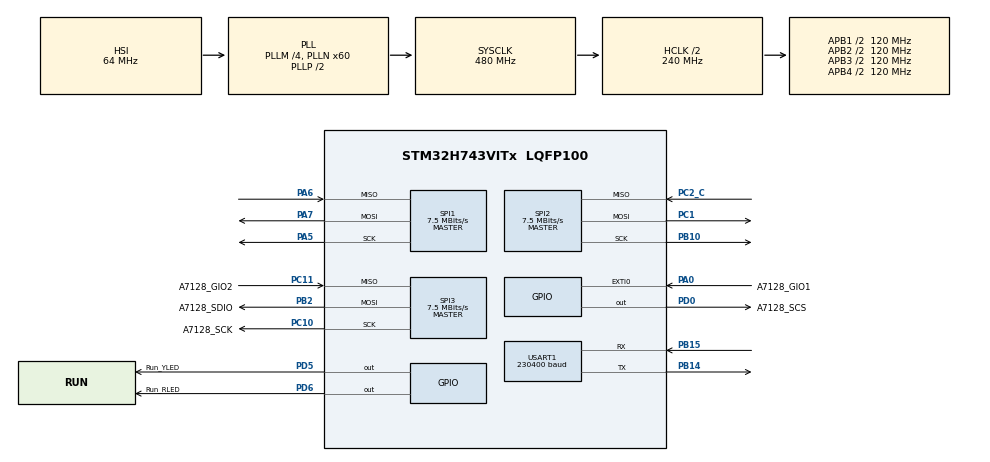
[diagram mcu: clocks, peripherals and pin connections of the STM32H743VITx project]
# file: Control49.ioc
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CORTEX_M7.CPU_DCache=Disabled
CORTEX_M7.CPU_ICache=Enabled
CORTEX_M7.MPU_Control=__NULL
Dma.MEMTOMEM.3.Direction=DMA_MEMORY_TO_MEMORY
Dma.MEMTOMEM.3.EventEnable=DISABLE
Dma.MEMTOMEM.3.FIFOMode=DMA_FIFOMODE_ENABLE
Dma.MEMTOMEM.3.FIFOThreshold=DMA_FIFO_THRESHOLD_FULL
Dma.MEMTOMEM.3.Instance=DMA2_Stream3
Dma.MEMTOMEM.3.MemBurst=DMA_MBURST_SINGLE
Dma.MEMTOMEM.3.MemDataAlignment=DMA_MDATAALIGN_BYTE
Dma.MEMTOMEM.3.MemInc=DMA_MINC_ENABLE
Dma.MEMTOMEM.3.Mode=DMA_NORMAL
Dma.MEMTOMEM.3.PeriphBurst=DMA_PBURST_SINGLE
Dma.MEMTOMEM.3.PeriphDataAlignment=DMA_PDATAALIGN_BYTE
Dma.MEMTOMEM.3.PeriphInc=DMA_PINC_ENABLE
Dma.MEMTOMEM.3.Polarity=HAL_DMAMUX_REQ_GEN_RISING
Dma.MEMTOMEM.3.Priority=DMA_PRIORITY_LOW
Dma.MEMTOMEM.3.RequestNumber=1
Dma.MEMTOMEM.3.SignalID=NONE
Dma.MEMTOMEM.3.SyncEnable=DISABLE
Dma.MEMTOMEM.3.SyncPolarity=HAL_DMAMUX_SYNC_NO_EVENT
Dma.MEMTOMEM.3.SyncRequestNumber=1
Dma.MEMTOMEM.3.SyncSignalID=NONE
Dma.MEMTOMEM.4.Direction=DMA_MEMORY_TO_MEMORY
Dma.MEMTOMEM.4.EventEnable=DISABLE
Dma.MEMTOMEM.4.FIFOMode=DMA_FIFOMODE_ENABLE
Dma.MEMTOMEM.4.FIFOThreshold=DMA_FIFO_THRESHOLD_FULL
Dma.MEMTOMEM.4.Instance=DMA1_Stream2
Dma.MEMTOMEM.4.MemBurst=DMA_MBURST_SINGLE
Dma.MEMTOMEM.4.MemDataAlignment=DMA_MDATAALIGN_WORD
Dma.MEMTOMEM.4.MemInc=DMA_MINC_ENABLE
Dma.MEMTOMEM.4.Mode=DMA_NORMAL
Dma.MEMTOMEM.4.PeriphBurst=DMA_PBURST_SINGLE
Dma.MEMTOMEM.4.PeriphDataAlignment=DMA_PDATAALIGN_WORD
Dma.MEMTOMEM.4.PeriphInc=DMA_PINC_DISABLE
Dma.MEMTOMEM.4.Polarity=HAL_DMAMUX_REQ_GEN_RISING
Dma.MEMTOMEM.4.Priority=DMA_PRIORITY_LOW
Dma.MEMTOMEM.4.RequestNumber=1
Dma.MEMTOMEM.4.SignalID=NONE
Dma.MEMTOMEM.4.SyncEnable=DISABLE
Dma.MEMTOMEM.4.SyncPolarity=HAL_DMAMUX_SYNC_NO_EVENT
Dma.MEMTOMEM.4.SyncRequestNumber=1
Dma.MEMTOMEM.4.SyncSignalID=NONE
Dma.Request0=SPI3_RX
Dma.Request1=USART1_TX
Dma.Request2=SPI3_TX
Dma.Request3=MEMTOMEM
Dma.Request4=MEMTOMEM
Dma.Request5=USART1_RX
Dma.SPI3_RX.0.Direction=DMA_PERIPH_TO_MEMORY
Dma.SPI3_RX.0.EventEnable=DISABLE
Dma.SPI3_RX.0.FIFOMode=DMA_FIFOMODE_DISABLE
Dma.SPI3_RX.0.Instance=DMA1_Stream0
Dma.SPI3_RX.0.MemDataAlignment=DMA_MDATAALIGN_BYTE
Dma.SPI3_RX.0.MemInc=DMA_MINC_ENABLE
Dma.SPI3_RX.0.Mode=DMA_NORMAL
Dma.SPI3_RX.0.PeriphDataAlignment=DMA_PDATAALIGN_BYTE
Dma.SPI3_RX.0.PeriphInc=DMA_PINC_DISABLE
Dma.SPI3_RX.0.Polarity=HAL_DMAMUX_REQ_GEN_RISING
Dma.SPI3_RX.0.Priority=DMA_PRIORITY_LOW
Dma.SPI3_RX.0.RequestNumber=1
Dma.SPI3_RX.0.SignalID=NONE
Dma.SPI3_RX.0.SyncEnable=DISABLE
Dma.SPI3_RX.0.SyncPolarity=HAL_DMAMUX_SYNC_NO_EVENT
Dma.SPI3_RX.0.SyncRequestNumber=1
Dma.SPI3_RX.0.SyncSignalID=NONE
Dma.SPI3_TX.2.Direction=DMA_MEMORY_TO_PERIPH
Dma.SPI3_TX.2.EventEnable=DISABLE
Dma.SPI3_TX.2.FIFOMode=DMA_FIFOMODE_DISABLE
Dma.SPI3_TX.2.Instance=DMA1_Stream1
Dma.SPI3_TX.2.MemDataAlignment=DMA_MDATAALIGN_BYTE
Dma.SPI3_TX.2.MemInc=DMA_MINC_ENABLE
Dma.SPI3_TX.2.Mode=DMA_NORMAL
Dma.SPI3_TX.2.PeriphDataAlignment=DMA_PDATAALIGN_BYTE
Dma.SPI3_TX.2.PeriphInc=DMA_PINC_DISABLE
Dma.SPI3_TX.2.Polarity=HAL_DMAMUX_REQ_GEN_RISING
Dma.SPI3_TX.2.Priority=DMA_PRIORITY_LOW
Dma.SPI3_TX.2.RequestNumber=1
Dma.SPI3_TX.2.SignalID=NONE
Dma.SPI3_TX.2.SyncEnable=DISABLE
Dma.SPI3_TX.2.SyncPolarity=HAL_DMAMUX_SYNC_NO_EVENT
Dma.SPI3_TX.2.SyncRequestNumber=1
Dma.SPI3_TX.2.SyncSignalID=NONE
Dma.USART1_RX.5.Direction=DMA_PERIPH_TO_MEMORY
Dma.USART1_RX.5.EventEnable=DISABLE
Dma.USART1_RX.5.FIFOMode=DMA_FIFOMODE_DISABLE
Dma.USART1_RX.5.Instance=DMA2_Stream1
Dma.USART1_RX.5.MemDataAlignment=DMA_MDATAALIGN_BYTE
Dma.USART1_RX.5.MemInc=DMA_MINC_ENABLE
Dma.USART1_RX.5.Mode=DMA_NORMAL
Dma.USART1_RX.5.PeriphDataAlignment=DMA_PDATAALIGN_BYTE
Dma.USART1_RX.5.PeriphInc=DMA_PINC_DISABLE
Dma.USART1_RX.5.Polarity=HAL_DMAMUX_REQ_GEN_RISING
Dma.USART1_RX.5.Priority=DMA_PRIORITY_LOW
Dma.USART1_RX.5.RequestNumber=1
Dma.USART1_RX.5.SignalID=NONE
Dma.USART1_RX.5.SyncEnable=DISABLE
Dma.USART1_RX.5.SyncPolarity=HAL_DMAMUX_SYNC_NO_EVENT
Dma.USART1_RX.5.SyncRequestNumber=1
Dma.USART1_RX.5.SyncSignalID=NONE
Dma.USART1_TX.1.Direction=DMA_MEMORY_TO_PERIPH
Dma.USART1_TX.1.EventEnable=DISABLE
Dma.USART1_TX.1.FIFOMode=DMA_FIFOMODE_DISABLE
Dma.USART1_TX.1.Instance=DMA2_Stream0
Dma.USART1_TX.1.MemDataAlignment=DMA_MDATAALIGN_BYTE
Dma.USART1_TX.1.MemInc=DMA_MINC_ENABLE
Dma.USART1_TX.1.Mode=DMA_NORMAL
Dma.USART1_TX.1.PeriphDataAlignment=DMA_PDATAALIGN_BYTE
Dma.USART1_TX.1.PeriphInc=DMA_PINC_DISABLE
Dma.USART1_TX.1.Polarity=HAL_DMAMUX_REQ_GEN_RISING
Dma.USART1_TX.1.Priority=DMA_PRIORITY_LOW
Dma.USART1_TX.1.RequestNumber=1
Dma.USART1_TX.1.SignalID=NONE
Dma.USART1_TX.1.SyncEnable=DISABLE
Dma.USART1_TX.1.SyncPolarity=HAL_DMAMUX_SYNC_NO_EVENT
Dma.USART1_TX.1.SyncRequestNumber=1
Dma.USART1_TX.1.SyncSignalID=NONE
Mcu.Family=STM32H7
Mcu.Name=STM32H743VITx
Mcu.Package=LQFP100
NVIC.DMA1_Stream0_IRQn=true\:0\:0\:false\:false\:true\:false\:true
NVIC.DMA1_Stream1_IRQn=true\:0\:0\:false\:false\:true\:false\:true
NVIC.DMA2_Stream0_IRQn=true\:2\:0\:true\:false\:true\:false\:true
NVIC.DMA2_Stream1_IRQn=true\:2\:0\:true\:false\:true\:false\:true
NVIC.DMA2_Stream3_IRQn=true\:0\:0\:false\:false\:true\:false\:true
NVIC.EXTI0_IRQn=true\:0\:0\:true\:false\:true\:true\:true
NVIC.PriorityGroup=NVIC_PRIORITYGROUP_2
NVIC.SPI3_IRQn=true\:0\:0\:false\:false\:true\:false\:true
NVIC.TIM8_TRG_COM_TIM14_IRQn=true\:0\:0\:true\:false\:true\:true\:true
NVIC.TIM8_UP_TIM13_IRQn=true\:0\:0\:false\:false\:true\:true\:true
NVIC.USART1_IRQn=true\:1\:0\:true\:false\:true\:true\:true
PA0.GPIO_Label=A7128_GIO1
PA0.GPIO_ModeDefaultEXTI=GPIO_MODE_IT_FALLING
PA0.GPIO_PuPd=GPIO_PULLUP
PA0.Signal=GPXTI0
PA5.Mode=Full_Duplex_Master
PA5.Signal=SPI1_SCK
PA6.Mode=Full_Duplex_Master
PA6.Signal=SPI1_MISO
PA7.Mode=Full_Duplex_Master
PA7.Signal=SPI1_MOSI
PB10.Mode=Full_Duplex_Master
PB10.Signal=SPI2_SCK
PB14.Mode=Asynchronous
PB14.Signal=USART1_TX
PB15.Mode=Asynchronous
PB15.Signal=USART1_RX
PB2.GPIO_Label=A7128_SDIO
PB2.GPIO_Speed=GPIO_SPEED_FREQ_VERY_HIGH
PB2.Mode=Full_Duplex_Master
PB2.Signal=SPI3_MOSI
PC1.Mode=Full_Duplex_Master
PC1.Signal=SPI2_MOSI
PC10.GPIO_Label=A7128_SCK
PC10.GPIO_Speed=GPIO_SPEED_FREQ_VERY_HIGH
PC10.Mode=Full_Duplex_Master
PC10.Signal=SPI3_SCK
PC11.GPIO_Label=A7128_GIO2
PC11.GPIO_Speed=GPIO_SPEED_FREQ_VERY_HIGH
PC11.Mode=Full_Duplex_Master
PC11.Signal=SPI3_MISO
PC2_C.Mode=Full_Duplex_Master
PC2_C.Signal=SPI2_MISO
PD0.GPIO_Label=A7128_SCS
PD0.GPIO_PuPd=GPIO_PULLUP
PD0.GPIO_Speed=GPIO_SPEED_FREQ_HIGH
PD0.PinState=GPIO_PIN_SET
PD0.Signal=GPIO_Output
PD5.GPIO_Label=Run_YLED
PD5.GPIO_PuPd=GPIO_PULLUP
PD5.PinState=GPIO_PIN_SET
PD5.Signal=GPIO_Output
PD6.GPIO_Label=Run_RLED
PD6.GPIO_PuPd=GPIO_PULLUP
PD6.PinState=GPIO_PIN_SET
PD6.Signal=GPIO_Output
PH0-OSC_IN\ (PH0).Mode=HSE-External-Oscillator
PH0-OSC_IN\ (PH0).Signal=RCC_OSC_IN
PH1-OSC_OUT\ (PH1).Mode=HSE-External-Oscillator
PH1-OSC_OUT\ (PH1).Signal=RCC_OSC_OUT
ProjectManager.HeapSize=0x200
ProjectManager.StackSize=0x400
ProjectManager.TargetToolchain=Other Toolchains (GPDSC)
RCC.ADCFreq_Value=129000000
RCC.APB1Freq_Value=120000000
RCC.APB2Freq_Value=120000000
RCC.APB3Freq_Value=120000000
RCC.APB4Freq_Value=120000000
RCC.CortexFreq_Value=480000000
RCC.D1PPRE=RCC_APB3_DIV2
RCC.D2PPRE1=RCC_APB1_DIV2
RCC.D2PPRE2=RCC_APB2_DIV2
RCC.D3PPRE=RCC_APB4_DIV2
RCC.DIVM1=4
RCC.DIVN1=60
RCC.FLatency=FLASH_LATENCY_4
RCC.HCLKFreq_Value=240000000
RCC.HPRE=RCC_HCLK_DIV2
RCC.PLL1_VCI_Range=RCC_PLL1VCIRANGE_3
RCC.PLLFRACN=0
RCC.PWR_Regulator_Voltage_Scale=PWR_REGULATOR_VOLTAGE_SCALE0
RCC.SYSCLKFreq_VALUE=480000000
RCC.SYSCLKSource=RCC_SYSCLKSOURCE_PLLCLK
RCC.USBFreq_Value=480000000
SPI1.BaudRatePrescaler=SPI_BAUDRATEPRESCALER_64
SPI1.CLKPhase=SPI_PHASE_1EDGE
SPI1.CLKPolarity=SPI_POLARITY_LOW
SPI1.CRCCalculation=SPI_CRCCALCULATION_DISABLE
SPI1.CalculateBaudRate=7.5 MBits/s
SPI1.DataSize=SPI_DATASIZE_8BIT
SPI1.Direction=SPI_DIRECTION_2LINES
SPI1.FifoThreshold=SPI_FIFO_THRESHOLD_01DATA
SPI1.FirstBit=SPI_FIRSTBIT_MSB
SPI1.IOSwap=SPI_IO_SWAP_DISABLE
SPI1.MasterInterDataIdleness=SPI_MASTER_INTERDATA_IDLENESS_00CYCLE
SPI1.MasterKeepIOState=SPI_MASTER_KEEP_IO_STATE_DISABLE
SPI1.MasterReceiverAutoSusp=SPI_MASTER_RX_AUTOSUSP_DISABLE
SPI1.MasterSSIdleness=SPI_MASTER_SS_IDLENESS_00CYCLE
SPI1.Mode=SPI_MODE_MASTER
SPI1.NSS=SPI_NSS_SOFT
SPI1.NSSPMode=SPI_NSS_PULSE_ENABLE
SPI1.NSSPolarity=SPI_NSS_POLARITY_LOW
SPI1.RxCRCInitializationPattern=SPI_CRC_INITIALIZATION_ALL_ZERO_PATTERN
SPI1.TIMode=SPI_TIMODE_DISABLE
SPI1.TxCRCInitializationPattern=SPI_CRC_INITIALIZATION_ALL_ZERO_PATTERN
SPI1.VirtualType=VM_MASTER
SPI2.BaudRatePrescaler=SPI_BAUDRATEPRESCALER_64
SPI2.CLKPhase=SPI_PHASE_1EDGE
SPI2.CLKPolarity=SPI_POLARITY_LOW
SPI2.CRCCalculation=SPI_CRCCALCULATION_DISABLE
SPI2.CalculateBaudRate=7.5 MBits/s
SPI2.DataSize=SPI_DATASIZE_8BIT
SPI2.Direction=SPI_DIRECTION_2LINES
SPI2.FifoThreshold=SPI_FIFO_THRESHOLD_01DATA
SPI2.FirstBit=SPI_FIRSTBIT_MSB
SPI2.IOSwap=SPI_IO_SWAP_DISABLE
SPI2.MasterInterDataIdleness=SPI_MASTER_INTERDATA_IDLENESS_00CYCLE
SPI2.MasterKeepIOState=SPI_MASTER_KEEP_IO_STATE_DISABLE
SPI2.MasterReceiverAutoSusp=SPI_MASTER_RX_AUTOSUSP_DISABLE
SPI2.MasterSSIdleness=SPI_MASTER_SS_IDLENESS_00CYCLE
SPI2.Mode=SPI_MODE_MASTER
SPI2.NSS=SPI_NSS_SOFT
SPI2.NSSPMode=SPI_NSS_PULSE_ENABLE
SPI2.NSSPolarity=SPI_NSS_POLARITY_LOW
SPI2.RxCRCInitializationPattern=SPI_CRC_INITIALIZATION_ALL_ZERO_PATTERN
SPI2.TIMode=SPI_TIMODE_DISABLE
SPI2.TxCRCInitializationPattern=SPI_CRC_INITIALIZATION_ALL_ZERO_PATTERN
SPI2.VirtualType=VM_MASTER
SPI3.BaudRatePrescaler=SPI_BAUDRATEPRESCALER_64
SPI3.CLKPhase=SPI_PHASE_1EDGE
SPI3.CLKPolarity=SPI_POLARITY_LOW
SPI3.CRCCalculation=SPI_CRCCALCULATION_DISABLE
SPI3.CalculateBaudRate=7.5 MBits/s
SPI3.DataSize=SPI_DATASIZE_8BIT
SPI3.Direction=SPI_DIRECTION_2LINES
SPI3.FifoThreshold=SPI_FIFO_THRESHOLD_01DATA
SPI3.FirstBit=SPI_FIRSTBIT_MSB
SPI3.IOSwap=SPI_IO_SWAP_DISABLE
SPI3.MasterInterDataIdleness=SPI_MASTER_INTERDATA_IDLENESS_00CYCLE
SPI3.MasterKeepIOState=SPI_MASTER_KEEP_IO_STATE_DISABLE
SPI3.MasterReceiverAutoSusp=SPI_MASTER_RX_AUTOSUSP_DISABLE
SPI3.MasterSSIdleness=SPI_MASTER_SS_IDLENESS_00CYCLE
SPI3.Mode=SPI_MODE_MASTER
SPI3.NSS=SPI_NSS_SOFT
SPI3.NSSPMode=SPI_NSS_PULSE_ENABLE
SPI3.NSSPolarity=SPI_NSS_POLARITY_LOW
SPI3.RxCRCInitializationPattern=SPI_CRC_INITIALIZATION_ALL_ZERO_PATTERN
SPI3.TIMode=SPI_TIMODE_DISABLE
SPI3.TxCRCInitializationPattern=SPI_CRC_INITIALIZATION_ALL_ZERO_PATTERN
SPI3.VirtualNSS=VM_NSSHARD
SPI3.VirtualType=VM_MASTER
TIM13.Period=17790
TIM13.Prescaler=3
TIM14.AutoReloadPreload=TIM_AUTORELOAD_PRELOAD_DISABLE
TIM14.Period=60060
TIM14.Prescaler=3
TIM7.Period=50000-1
TIM7.Prescaler=48000-1
USART1.BaudRate=230400
USART1.VirtualMode-Asynchronous=VM_ASYNC
VP_TIM13_VS_ClockSourceINT.Mode=Enable_Timer
VP_TIM14_VS_ClockSourceINT.Mode=Enable_Timer
VP_TIM7_VS_ClockSourceINT.Mode=Enable_Timer
board=custom

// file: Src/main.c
/* USER CODE BEGIN Header */
/**
  ******************************************************************************
  * @file           : main.c
  * @brief          : Main program body
  ******************************************************************************
  * @attention
  *
  * <h2><center>&copy; Copyright (c) 2019 STMicroelectronics.
  * All rights reserved.</center></h2>
  *
  * This software component is licensed by ST under BSD 3-Clause license,
  * the "License"; You may not use this file except in compliance with the
  * License. You may obtain a copy of the License at:
  *                        opensource.org/licenses/BSD-3-Clause
  *
  ******************************************************************************
  */
/* USER CODE END Header */

#include "main.h"
#include "dma.h"
#include "spi.h"
#include "tim.h"
#include "usart.h"
#include "gpio.h"

/* USER CODE BEGIN Includes */
#include "wfSys.h"
#include "A7128.h"
#include "HardwareProfile.h"
#include "..\wf\Variables.h"
#include "..\wf\Function.h"
#include "..\Drivers\STM32H7xx_HAL_Driver\Inc\stm32h7xx_hal_uart.h"
#include "..\..\..\..\..\WF_Device\wfDefine.h"
#include "..\..\..\..\..\WF_Device\CP1616_Client.h"
/* USER CODE END Includes */

void SystemClock_Config(void);

/* USER CODE BEGIN 0 */
uint8_t PN9_Tab[]=
{   0xFF,0x83,0xDF,0x17,0x32,0x09,0x4E,0xD1,
0xE7,0xCD,0x8A,0x91,0xC6,0xD5,0xC4,0xC4,
0x40,0x21,0x18,0x4E,0x55,0x86,0xF4,0xDC,
0x8A,0x15,0xA7,0xEC,0x92,0xDF,0x93,0x53,
0x30,0x18,0xCA,0x34,0xBF,0xA2,0xC7,0x59,
0x67,0x8F,0xBA,0x0D,0x6D,0xD8,0x2D,0x7D,
0x54,0x0A,0x57,0x97,0x70,0x39,0xD2,0x7A,
0xEA,0x24,0x33,0x85,0xED,0x9A,0x1D,0xE0
};
/* USER CODE END 0 */

int main(void)
{
  /* USER CODE BEGIN 1 */
	uint32_t i;
	uint32_t x,retry,addr,bOk;
	uint8_t x8;
	SPI_HandleTypeDef hspixxx;
	uint8_t* pbuf;
  /* USER CODE END 1 */

  /* Enable I-Cache---------------------------------------------------------*/
  SCB_EnableICache();

  /* MCU Configuration--------------------------------------------------------*/

  /* Reset of all peripherals, Initializes the Flash interface and the Systick. */
  HAL_Init();

  /* Configure the system clock */
  SystemClock_Config();

  /* Initialize all configured peripherals */
  MX_GPIO_Init();
  MX_DMA_Init();
  MX_SPI1_Init();
  MX_SPI2_Init();
  MX_SPI3_Init();
  MX_TIM14_Init();
  MX_USART1_UART_Init();
  MX_TIM13_Init();
  MX_TIM7_Init();
  /* USER CODE BEGIN 2 */
  wfDelay_init(480);
  HAL_NVIC_DisableIRQ(EXTI0_IRQn);
  A7128_Init();
  A7128_StrobeCmd(CMD_STBY);
  A7128_SetCH(60); //freq 915.001MHz
  bA7128Reseted = 1;
//   bFirst=1;
//   bRLEDOn=0;
//   bRXing=0;
  YLED_OFF();
  RLED_OFF();
  CP1616_Client_TxList[0]=0x16;
  CP1616_Client_TxList[1]=0x16;
  while(HAL_UART_Receive_IT(&huart1,&huart1Rx,1)==HAL_OK);
  NetWorkMode=Net_Stop;
  ADCData4TXBuf=&ADCData4TX2;
  ADCData4SaveBuf=&ADCData4TX1;
  /************************************************************************/
  /*                                                                      */
  /************************************************************************/

  /************************************************************************/
  /*                                                                      */
  /************************************************************************/
  /* USER CODE END 2 */

  /* Infinite loop */
  /* USER CODE BEGIN WHILE */
  while (1)
  {
	  if(NetWorkMode!=Net_Stop)
	  {
		  RLED_Toggle();
		  Networking_WakeUp(4);
		  Networking_SignIn();
		  if(Uart_SignInProc()==0)
		  {
			  NetWorkMode=Net_Stop;
			  continue;
		  }
		  if(ADCDataLen==0)//空网络
		  {
			  NetWorkMode=Net_Stop;
			  continue;
		  }
		  Networking_StartNet();
		  ADCData4SaveBuf=0;
		  TimeIndex=997;
		  __HAL_TIM_CLEAR_IT(&htim14,TIM_IT_UPDATE);
		  HAL_TIM_Base_Start_IT(&htim14);
		  while(1)
		  {
			  if (bA7128Reseted == 0)//重新初始化a7128
			  {
				  A7128_Init();
				  A7128_StrobeCmd(CMD_STBY);
				  A7128_SetCH(60); //freq 915.001MHz
				  bA7128Reseted = 1;
			  }
			  if(bNewFrame)
			  {
				  bNewFrame=0;
				  htim7.Instance->ARR = 2000-1;//200ms;
				  for(retry=0;retry<2;retry++)
				  {
					  //waitConfirmCommand=ADCDataSendCommand;
					  bOk=0;
					  if(bCalibrationNet)//校准则只发送1个数据即可
					  {
						  CP1616_Client_TxList[pCP1616_Client_CommandIndex]=ADCDataSendCommand_Calibration;
						  CP1616_Client_TxList[3]=HIGH_BYTE(ADCDataLen_Calibration);
						  CP1616_Client_TxList[4]=LOW_BYTE(ADCDataLen_Calibration);
						  CP1616_Client_TxList[5]=0x00;
						  CP1616_Client_TxList[6]=0x0d;
						  HAL_UART_Transmit(&huart1,CP1616_Client_TxList,5,100);
						  for(addr=0;addr<4;addr++)
						  {
							  if(SensorSignIn.H[addr]!=0)
							  {
								  HAL_UART_Transmit(&huart1,ADCData4TXBuf->H[addr][0],3,1000);
								  HAL_UART_Transmit(&huart1,&SensorBAT.H[addr],1,1000);
							  }
						  }
						  for(addr=0;addr<6;addr++)
						  {
							  if(SensorSignIn.M[addr]!=0)
							  {
								  HAL_UART_Transmit(&huart1,ADCData4TXBuf->M[addr][0],3,1000);
								  HAL_UART_Transmit(&huart1,&SensorBAT.M[addr],1,1000);
							  }
						  }
						  for(addr=0;addr<90;addr++)
						  {
							  if(SensorSignIn.L[addr]!=0)
							  {
								  HAL_UART_Transmit(&huart1,ADCData4TXBuf->L[addr],3,1000);
								  HAL_UART_Transmit(&huart1,&SensorBAT.L[addr],1,1000);
							  }
						  }
						  HAL_UART_Transmit(&huart1,&CP1616_Client_TxList[5],2,100);
					  }
					  else//实际数据
					  {
						  CP1616_Client_TxList[pCP1616_Client_CommandIndex]=ADCDataSendCommand;
						  CP1616_Client_TxList[3]=HIGH_BYTE(ADCDataLen);
						  CP1616_Client_TxList[4]=LOW_BYTE(ADCDataLen);
						  CP1616_Client_TxList[5]=0x00;
						  CP1616_Client_TxList[6]=0x0d;
						  HAL_UART_Transmit(&huart1,CP1616_Client_TxList,5,100);
						  for(addr=0;addr<4;addr++)
						  {
							  if(SensorSignIn.H[addr]!=0)
							  {
								  HAL_UART_Transmit(&huart1,ADCData4TXBuf->H[addr][0],7680,1000);
								  HAL_UART_Transmit(&huart1,&SensorBAT.H[addr],1,1000);
							  }
						  }
						  for(addr=0;addr<6;addr++)
						  {
							  if(SensorSignIn.M[addr]!=0)
							  {
								  HAL_UART_Transmit(&huart1,ADCData4TXBuf->M[addr][0],480,1000);
								  HAL_UART_Transmit(&huart1,&SensorBAT.M[addr],1,1000);
							  }
						  }
						  for(addr=0;addr<90;addr++)
						  {
							  if(SensorSignIn.L[addr]!=0)
							  {
								  HAL_UART_Transmit(&huart1,ADCData4TXBuf->L[addr],60,1000);
								  HAL_UART_Transmit(&huart1,&SensorBAT.L[addr],1,1000);
							  }
						  }
						  HAL_UART_Transmit(&huart1,&CP1616_Client_TxList[5],2,100);
					  }
					  HAL_TIM_Base_Stop(&htim7);
					  __HAL_TIM_SET_COUNTER(&htim7,0);
					  __HAL_TIM_CLEAR_FLAG(&htim7,TIM_FLAG_UPDATE);
					  HAL_TIM_Base_Start(&htim7);
					  while(1)
					  {
						  if(huart1.RxState!=HAL_UART_STATE_BUSY_RX)
						  {
							  while(HAL_UART_Receive_IT(&huart1,&huart1Rx,1)==HAL_OK);
						  }
						  if(CP1616_Client_Flags.Bits.bRx)
						  {
							  if(CP1616_Client_RxList[pCP1616_Client_CommandIndex]==3)
							  {
								  if(CP1616_Client_RxList[pCP1616_Client_DataIndex]==CP1616_Client_TxList[pCP1616_Client_CommandIndex])
								  {
									  if(CP1616_Client_RxList[pCP1616_Client_DataIndex+1]==0)//收到数据确认
									  {
										  bOk=1;
									  }
									  else if(CP1616_Client_RxList[pCP1616_Client_DataIndex+1]==1)//收到数据确认,并请求节点名单
									  {
										  bOk=1;
										  CP1616_Client_EndProcCommand();
										  Uart_SignInProc();
									  }
									  else if(CP1616_Client_RxList[pCP1616_Client_DataIndex+1]==2)//收到数据确认,并请求关闭网络
									  {
										  NetWorkMode=Net_Stop;
										  bOk=1;
									  }
									  else if(CP1616_Client_RxList[pCP1616_Client_DataIndex+1]==3)//测量标定网络相互转换
									  {
										  bCalibrationNet=!bCalibrationNet;
										  bOk=1;
									  }
								  }
								  CP1616_Client_EndProcCommand();
								  break;
							  }
							  else
							  {
								  UartRxProc();
							  }
						  }
						  if(__HAL_TIM_GET_FLAG(&htim7,TIM_FLAG_UPDATE))//超时重试
						  {
							  break;
						  }
					  }
					  if(bOk)
						  break;
				  }
			  }
			  if(NetWorkMode==Net_Stop)
			  {
				  while(1)//等待网络关闭
				  {
					  if(WF_CHECK_FLAG(htim14.Instance->CR1,TIM_CR1_CEN)==0)
						  break;
				  }
				  Uart_ClosedProc();
				  NVIC_SystemReset();
				  break;
			  }
		  }
	  }
	  else//网络未启动，等待启动指令
	  {
		  if(huart1.RxState!=HAL_UART_STATE_BUSY_RX)
		  {
			  while(HAL_UART_Receive_IT(&huart1,&huart1Rx,1)==HAL_OK);
		  }
		  if(CP1616_Client_Flags.Bits.bRx)
		  {
			  if(CP1616_Client_RxList[pCP1616_Client_CommandIndex]==3)
			  {
				  CP1616_Client_EndProcCommand();
			  }
			  else
				UartRxProc();
		  }
	  }
    /* USER CODE END WHILE */

  }
}

void SystemClock_Config(void)
{
  RCC_OscInitTypeDef RCC_OscInitStruct = {0};
  RCC_ClkInitTypeDef RCC_ClkInitStruct = {0};
  RCC_PeriphCLKInitTypeDef PeriphClkInitStruct = {0};

  /** Supply configuration update enable
  */
  HAL_PWREx_ConfigSupply(PWR_LDO_SUPPLY);
  /** Configure the main internal regulator output voltage
  */
  __HAL_PWR_VOLTAGESCALING_CONFIG(PWR_REGULATOR_VOLTAGE_SCALE0);

  while(!__HAL_PWR_GET_FLAG(PWR_FLAG_VOSRDY)) {}
  /** Initializes the CPU, AHB and APB busses clocks
  */
  RCC_OscInitStruct.OscillatorType = RCC_OSCILLATORTYPE_HSI;
  RCC_OscInitStruct.HSIState = RCC_HSI_DIV1;
  RCC_OscInitStruct.HSICalibrationValue = RCC_HSICALIBRATION_DEFAULT;
  RCC_OscInitStruct.PLL.PLLState = RCC_PLL_ON;
  RCC_OscInitStruct.PLL.PLLSource = RCC_PLLSOURCE_HSI;
  RCC_OscInitStruct.PLL.PLLM = 4;
  RCC_OscInitStruct.PLL.PLLN = 60;
  RCC_OscInitStruct.PLL.PLLP = 2;
  RCC_OscInitStruct.PLL.PLLQ = 2;
  RCC_OscInitStruct.PLL.PLLR = 2;
  RCC_OscInitStruct.PLL.PLLRGE = RCC_PLL1VCIRANGE_3;
  RCC_OscInitStruct.PLL.PLLVCOSEL = RCC_PLL1VCOWIDE;
  RCC_OscInitStruct.PLL.PLLFRACN = 0;
  if (HAL_RCC_OscConfig(&RCC_OscInitStruct) != HAL_OK)
  {
    Error_Handler();
  }
  /** Initializes the CPU, AHB and APB busses clocks
  */
  RCC_ClkInitStruct.ClockType = RCC_CLOCKTYPE_HCLK|RCC_CLOCKTYPE_SYSCLK
                              |RCC_CLOCKTYPE_PCLK1|RCC_CLOCKTYPE_PCLK2
                              |RCC_CLOCKTYPE_D3PCLK1|RCC_CLOCKTYPE_D1PCLK1;
  RCC_ClkInitStruct.SYSCLKSource = RCC_SYSCLKSOURCE_PLLCLK;
  RCC_ClkInitStruct.SYSCLKDivider = RCC_SYSCLK_DIV1;
  RCC_ClkInitStruct.AHBCLKDivider = RCC_HCLK_DIV2;
  RCC_ClkInitStruct.APB3CLKDivider = RCC_APB3_DIV2;
  RCC_ClkInitStruct.APB1CLKDivider = RCC_APB1_DIV2;
  RCC_ClkInitStruct.APB2CLKDivider = RCC_APB2_DIV2;
  RCC_ClkInitStruct.APB4CLKDivider = RCC_APB4_DIV2;

  if (HAL_RCC_ClockConfig(&RCC_ClkInitStruct, FLASH_LATENCY_4) != HAL_OK)
  {
    Error_Handler();
  }
  PeriphClkInitStruct.PeriphClockSelection = RCC_PERIPHCLK_USART1|RCC_PERIPHCLK_SPI3
                              |RCC_PERIPHCLK_SPI1|RCC_PERIPHCLK_SPI2;
  PeriphClkInitStruct.Spi123ClockSelection = RCC_SPI123CLKSOURCE_PLL;
  PeriphClkInitStruct.Usart16ClockSelection = RCC_USART16CLKSOURCE_D2PCLK2;
  if (HAL_RCCEx_PeriphCLKConfig(&PeriphClkInitStruct) != HAL_OK)
  {
    Error_Handler();
  }
}

void Error_Handler(void)
{
}

/************************ (C) COPYRIGHT STMicroelectronics *****END OF FILE****/
